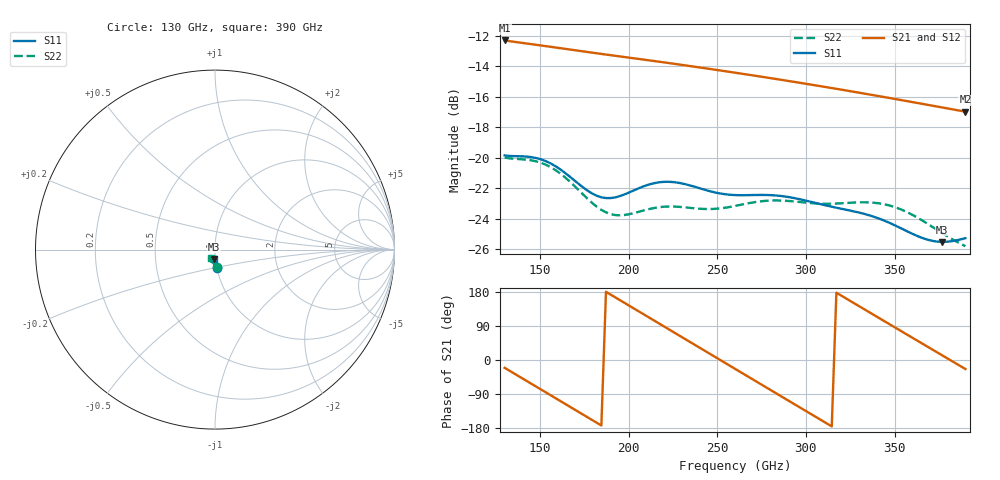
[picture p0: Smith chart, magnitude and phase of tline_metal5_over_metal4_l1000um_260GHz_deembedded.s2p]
! Created with skrf 2.0.1 (http://scikit-rf.org).
# GHz S DB R 50.0
!freq dBS11 angS11 dBS21 angS21 dBS12 angS12 dBS22 angS22
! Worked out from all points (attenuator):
!   101 points, 130 GHz to 390 GHz, reference 50 ohm
!   highest |S21| = -12.30 dB at 130 GHz (marker M1); lowest = -17.0 dB at 390 GHz (marker M2)
!   lowest |S11| = -25.5 dB at 377 GHz (marker M3), VSWR 1.11, Z = 48.9 - j5.14 ohm
!   |S11| at or under -10 dB: start of sweep to end of sweep
!   |S22| runs from -25.8 to -20.0 dB; largest |S21 - S12| = 1.7e-13
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130  -19.85 -82.6  -12.30 -20.6  -12.30 -20.6  -19.99 -84.5
143  -19.94 -83.3  -12.51 -56.8  -12.51 -56.8  -20.14 -85.4
153.4  -20.24 -86.7  -12.68 -85.8  -12.68 -85.8  -20.47 -89.3
163.8  -20.97 -89.8  -12.85 -114.9  -12.85 -114.9  -21.26 -93.2
174.2  -21.94 -89.7  -13.02 -143.9  -13.02 -143.9  -22.40 -94.5
184.6  -22.60 -85.8  -13.19 -172.8  -13.19 -172.8  -23.43 -91.3
195  -22.52 -81.4  -13.35 158.2  -13.35 158.2  -23.79 -86.1
208  -21.90 -80.9  -13.55 121.9  -13.55 121.9  -23.48 -82.7
218.4  -21.60 -83.9  -13.72 92.9  -13.72 92.9  -23.24 -83.3
228.8  -21.66 -87.6  -13.89 63.8  -13.89 63.8  -23.23 -84.7
241.8  -22.07 -90.7  -14.11 27.5  -14.11 27.5  -23.36 -85.4
260  -22.45 -91.6  -14.42 -23.2  -14.42 -23.2  -23.17 -85.7
280.8  -22.46 -94.5  -14.79 -81.2  -14.79 -81.2  -22.81 -90.2
291.2  -22.60 -96.9  -14.98 -110.1  -14.98 -110.1  -22.85 -93.1
304.2  -22.94 -99.3  -15.23 -146.3  -15.23 -146.3  -22.99 -95.8
314.6  -23.22 -100.6  -15.43 -175.2  -15.43 -175.2  -23.02 -97.7
325  -23.47 -101.8  -15.63 155.9  -15.63 155.9  -22.96 -100.2
338  -23.87 -103.6  -15.89 119.9  -15.89 119.9  -22.95 -104.9
348.4  -24.34 -104.6  -16.11 91.1  -16.11 91.1  -23.18 -109.7
361.4  -25.07 -103.6  -16.38 55.1  -16.38 55.1  -23.84 -115.1
377  -25.53 -98.6  -16.70 12.1  -16.70 12.1  -24.96 -118.5
390  -25.29 -95.1  -16.98 -23.8  -16.98 -23.8  -25.81 -118.6
